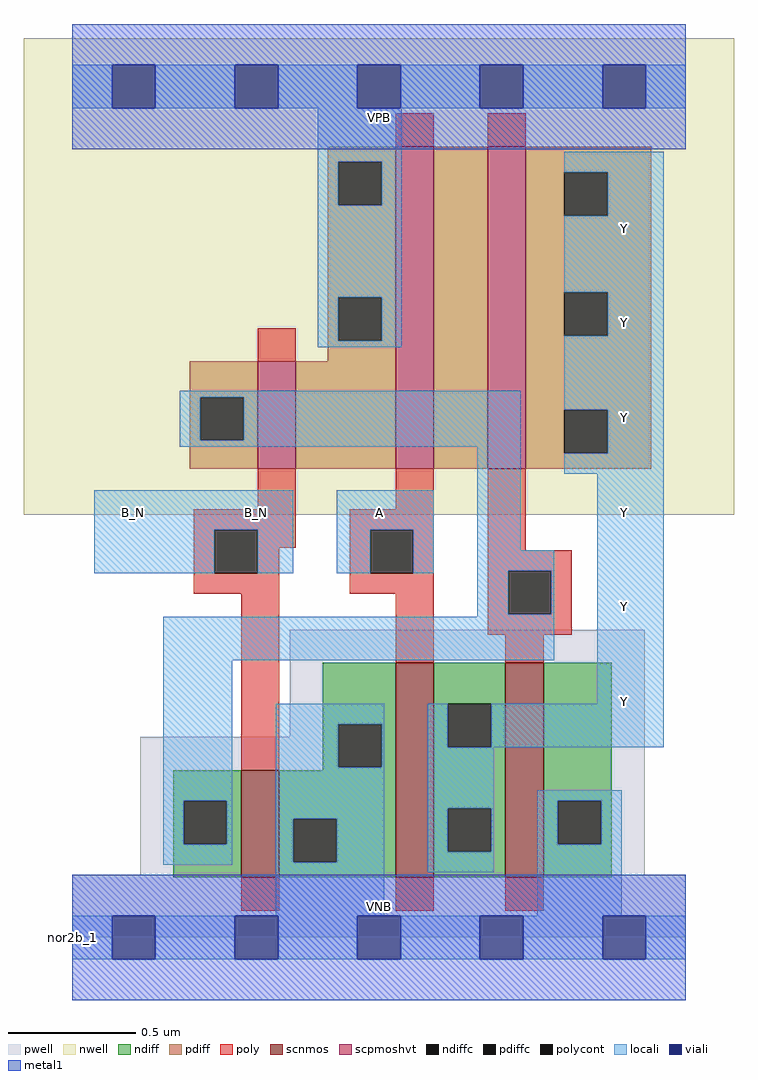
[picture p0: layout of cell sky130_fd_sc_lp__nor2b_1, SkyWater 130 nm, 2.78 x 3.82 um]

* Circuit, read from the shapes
.subckt sky130_fd_sc_lp__nor2b_1 A B_N VGND VNB VPB VPWR Y
XM1 VGND B_N n1 VNB sky130_fd_pr__nfet_01v8 w=0.42 l=0.15
XM2 Y A VGND VNB sky130_fd_pr__nfet_01v8 w=0.84 l=0.15
XM3 VGND n1 Y VNB sky130_fd_pr__nfet_01v8 w=0.84 l=0.15
XM4 VPWR B_N n1 VPB sky130_fd_pr__pfet_01v8_hvt w=0.42 l=0.15
XM5 n2 A VPWR VPB sky130_fd_pr__pfet_01v8_hvt w=1.26 l=0.15
XM6 Y n1 n2 VPB sky130_fd_pr__pfet_01v8_hvt w=1.26 l=0.15
.ends

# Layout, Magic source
magic
tech sky130A
magscale 1 2
<< nwell >>
rect -38 331 518 704
<< pwell >>
rect 170 157 448 241
rect 53 49 448 157
rect 0 0 480 49
<< scnmos >>
rect 132 47 162 131
rect 253 47 283 215
rect 339 47 369 215
<< scpmoshvt >>
rect 145 367 175 451
rect 253 367 283 619
rect 325 367 355 619
<< ndiff >>
rect 196 167 253 215
rect 196 133 208 167
rect 242 133 253 167
rect 196 131 253 133
rect 79 107 132 131
rect 79 73 87 107
rect 121 73 132 107
rect 79 47 132 73
rect 162 93 253 131
rect 162 59 173 93
rect 207 59 253 93
rect 162 47 253 59
rect 283 183 339 215
rect 283 149 294 183
rect 328 149 339 183
rect 283 101 339 149
rect 283 67 294 101
rect 328 67 339 101
rect 283 47 339 67
rect 369 107 422 215
rect 369 73 380 107
rect 414 73 422 107
rect 369 47 422 73
<< pdiff >>
rect 200 607 253 619
rect 200 573 208 607
rect 242 573 253 607
rect 200 501 253 573
rect 200 467 208 501
rect 242 467 253 501
rect 200 451 253 467
rect 92 423 145 451
rect 92 389 100 423
rect 134 389 145 423
rect 92 367 145 389
rect 175 367 253 451
rect 283 367 325 619
rect 355 599 453 619
rect 355 565 385 599
rect 419 565 453 599
rect 355 505 453 565
rect 355 471 385 505
rect 419 471 453 505
rect 355 413 453 471
rect 355 379 385 413
rect 419 379 453 413
rect 355 367 453 379
<< ndiffc >>
rect 208 133 242 167
rect 87 73 121 107
rect 173 59 207 93
rect 294 149 328 183
rect 294 67 328 101
rect 380 73 414 107
<< pdiffc >>
rect 208 573 242 607
rect 208 467 242 501
rect 100 389 134 423
rect 385 565 419 599
rect 385 471 419 505
rect 385 379 419 413
<< poly >>
rect 253 619 283 645
rect 325 619 355 645
rect 145 451 175 477
rect 145 335 175 367
rect 253 335 283 367
rect 95 319 175 335
rect 95 285 111 319
rect 145 305 175 319
rect 217 319 283 335
rect 145 285 162 305
rect 95 269 162 285
rect 217 285 233 319
rect 267 285 283 319
rect 217 269 283 285
rect 132 131 162 269
rect 253 215 283 269
rect 325 303 355 367
rect 325 287 391 303
rect 325 253 341 287
rect 375 253 391 287
rect 325 237 391 253
rect 339 215 369 237
rect 132 21 162 47
rect 253 21 283 47
rect 339 21 369 47
<< polycont >>
rect 111 285 145 319
rect 233 285 267 319
rect 341 253 375 287
<< locali >>
rect 0 649 31 683
rect 65 649 127 683
rect 161 649 223 683
rect 257 649 319 683
rect 353 649 415 683
rect 449 649 480 683
rect 192 607 258 649
rect 192 573 208 607
rect 242 573 258 607
rect 192 501 258 573
rect 192 467 208 501
rect 242 467 258 501
rect 192 462 258 467
rect 385 599 463 615
rect 419 565 463 599
rect 385 505 463 565
rect 419 471 463 505
rect 84 423 351 428
rect 84 389 100 423
rect 134 389 351 423
rect 84 384 351 389
rect 17 319 173 350
rect 17 285 111 319
rect 145 285 173 319
rect 207 319 283 350
rect 207 285 233 319
rect 267 285 283 319
rect 317 303 351 384
rect 385 413 463 471
rect 419 379 463 413
rect 385 363 463 379
rect 317 287 377 303
rect 317 253 341 287
rect 375 253 377 287
rect 317 251 377 253
rect 71 217 377 251
rect 71 107 125 217
rect 411 183 463 363
rect 71 73 87 107
rect 121 73 125 107
rect 71 57 125 73
rect 159 167 244 183
rect 159 133 208 167
rect 242 133 244 167
rect 159 93 244 133
rect 159 59 173 93
rect 207 59 244 93
rect 159 17 244 59
rect 278 149 294 183
rect 328 149 463 183
rect 278 101 330 149
rect 278 67 294 101
rect 328 67 330 101
rect 278 51 330 67
rect 364 107 430 115
rect 364 73 380 107
rect 414 73 430 107
rect 364 17 430 73
rect 0 -17 31 17
rect 65 -17 127 17
rect 161 -17 223 17
rect 257 -17 319 17
rect 353 -17 415 17
rect 449 -17 480 17
<< viali >>
rect 31 649 65 683
rect 127 649 161 683
rect 223 649 257 683
rect 319 649 353 683
rect 415 649 449 683
rect 31 -17 65 17
rect 127 -17 161 17
rect 223 -17 257 17
rect 319 -17 353 17
rect 415 -17 449 17
<< metal1 >>
rect 0 683 480 715
rect 0 649 31 683
rect 65 649 127 683
rect 161 649 223 683
rect 257 649 319 683
rect 353 649 415 683
rect 449 649 480 683
rect 0 617 480 649
rect 0 17 480 49
rect 0 -17 31 17
rect 65 -17 127 17
rect 161 -17 223 17
rect 257 -17 319 17
rect 353 -17 415 17
rect 449 -17 480 17
rect 0 -49 480 -17
<< labels >>
flabel pwell s 0 0 480 49 0 FreeSans 200 0 0 0 VNB
port 4 nsew ground bidirectional
flabel nwell s 0 617 480 666 0 FreeSans 200 0 0 0 VPB
port 5 nsew power bidirectional
rlabel comment s 0 0 0 0 4 nor2b_1
flabel metal1 s 0 617 480 666 0 FreeSans 340 0 0 0 VPWR
port 6 nsew power bidirectional
flabel metal1 s 0 0 480 49 0 FreeSans 340 0 0 0 VGND
port 3 nsew ground bidirectional
flabel locali s 223 316 257 350 0 FreeSans 340 0 0 0 A
port 1 nsew signal input
flabel locali s 415 168 449 202 0 FreeSans 340 0 0 0 Y
port 7 nsew signal output
flabel locali s 415 242 449 276 0 FreeSans 340 0 0 0 Y
port 7 nsew signal output
flabel locali s 415 316 449 350 0 FreeSans 340 0 0 0 Y
port 7 nsew signal output
flabel locali s 415 390 449 424 0 FreeSans 340 0 0 0 Y
port 7 nsew signal output
flabel locali s 415 464 449 498 0 FreeSans 340 0 0 0 Y
port 7 nsew signal output
flabel locali s 415 538 449 572 0 FreeSans 340 0 0 0 Y
port 7 nsew signal output
flabel locali s 31 316 65 350 0 FreeSans 340 0 0 0 B_N
port 2 nsew signal input
flabel locali s 127 316 161 350 0 FreeSans 340 0 0 0 B_N
port 2 nsew signal input
<< properties >>
string LEFsite unit
string LEFclass CORE
string FIXED_BBOX 0 0 480 666
string GDS_FILE $PDKPATH/libs.ref/sky130_fd_sc_lp/gds/sky130_fd_sc_lp.gds
string LEFsymmetry X Y R90
string GDS_END 5265040
string GDS_START 5259984
<< end >>
